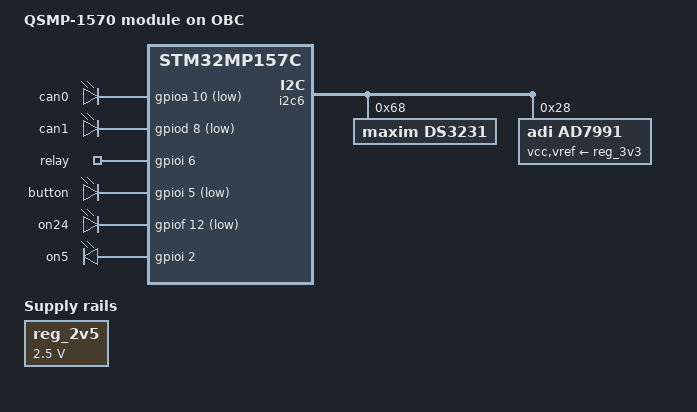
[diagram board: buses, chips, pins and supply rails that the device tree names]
// SPDX-License-Identifier: GPL-2.0 OR BSD-3-Clause
/*
 * Copyright (C) 2021 Martin Schweingruber <martin.schweingruber@schmid-elektronik.ch>
 */

#include "stm32mp157c-qsmp-1570-obc.dtsi"
/ {
	model = "QSMP-1570 module on OBC";
    
	leds {
        compatible = "gpio-leds";
        
        can0 {
            linux,default-trigger = "none";
            gpios = <&gpioa 10 (GPIO_ACTIVE_LOW | GPIO_PULL_UP)>; /* Pin 77 */
            default-state = "on";
        };

        can1 {
            linux,default-trigger = "none";
            gpios = <&gpiod 8 (GPIO_ACTIVE_LOW | GPIO_PULL_UP)>; /* Pin 76 */
            default-state = "off";
        };

        relay {
            linux,default-trigger = "none";
            default-state = "on";
            gpios = <&gpioi 6 (GPIO_ACTIVE_HIGH | GPIO_PULL_DOWN)>; /* Pin 75 */
        };

        button {
            linux,default-trigger = "none";
            gpios = <&gpioi 5 (GPIO_ACTIVE_LOW | GPIO_PULL_UP)>; /* Pin 74 */
        };

        on24 {
            linux,default-trigger = "none";
            gpios = <&gpiof 12 (GPIO_ACTIVE_LOW | GPIO_PULL_UP)>; /* Pin 70 */
        };

        on5 {
            linux,default-trigger = "none";
            gpios = <&gpioi 2 (GPIO_ACTIVE_HIGH | GPIO_PULL_UP)>; /* Pin 69 */
        };
    };

    reg_2v5: regulator-2v5 {
        compatible = "regulator-fixed";
        regulator-name = "2v5";
        regulator-min-microvolt = <2500000>;
        regulator-max-microvolt = <2500000>;
        regulator-always-on;
    };
};

&i2c6 {
    ds3231: ds3231@68 {
        compatible = "maxim,ds3231";
        reg = <0x68>;
        #clock-cells = <1>;
        status = "okay";
    };

    // TODO how to set REF_SEL bit
    ad7991@28 {
        compatible = "adi,ad7991";
        reg = <0x28>;
        vcc-supply = <&reg_3v3>;
        vref-supply = <&reg_3v3>;
        status = "okay";
    };
};
